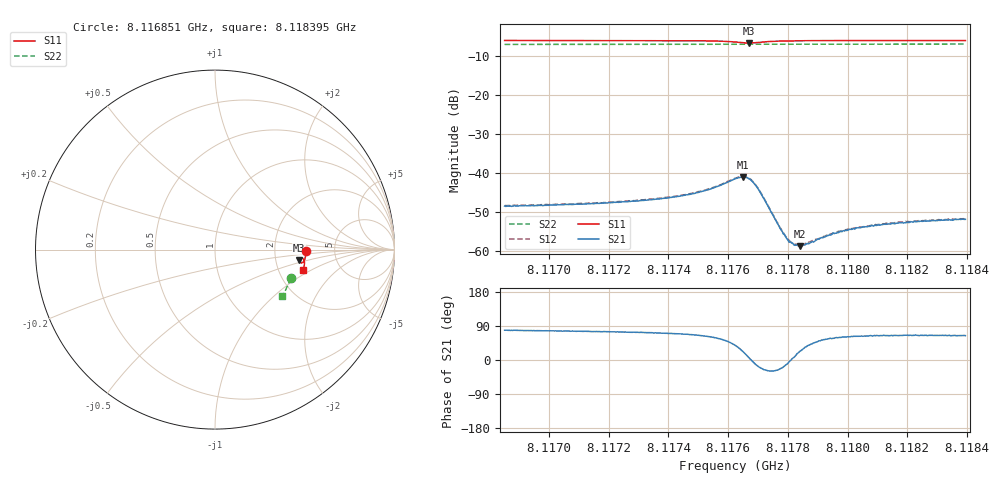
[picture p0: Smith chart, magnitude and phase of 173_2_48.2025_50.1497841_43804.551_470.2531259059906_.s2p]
#  HZ  S  RI  R  50.00
! Rohde & Schwarz Vector Network Analyzer
! Rohde-Schwarz,ZNB20-2Port,1311601062101988,3.16
! Created: UTC 3/20/2024, 11:43:48 AM
! freq[Hz]  re:S11  im:S11  re:S21  im:S21  re:S12  im:S12  re:S22  im:S22
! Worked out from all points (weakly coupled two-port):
!   401 points, 8.116851 GHz to 8.118395 GHz, reference 50 ohm
!   highest |S21| = -41.00 dB at 8.11765 GHz (marker M1); lowest = -58.7 dB at 8.117839 GHz (marker M2)
!   lowest |S11| = -6.6 dB at 8.117669 GHz (marker M3), VSWR 2.77, Z = 135 - j20.4 ohm
!   |S11| at or under -10 dB: nowhere
!   |S22| runs from -6.9 to -6.8 dB; largest |S21 - S12| = 0.00023
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8.1168508e9  0.5063 -0.00561  0.000744 0.00368  0.000818 0.00372  0.4214 -0.1595
8.1171095e9  0.5053 -0.0259  0.000984 0.00387  0.00104 0.00395  0.4153 -0.1765
8.1171867e9  0.5046 -0.0322  0.00107 0.00399  0.00111 0.00401  0.4133 -0.1815
8.1173681e9  0.5023 -0.0478  0.00148 0.0044  0.00157 0.00446  0.4085 -0.1933
8.1174607e9  0.4999 -0.057  0.00197 0.00488  0.00206 0.00492  0.4057 -0.1993
8.117507e9  0.4977 -0.0623  0.00247 0.00518  0.00252 0.00529  0.4043 -0.2021
8.1175688e9  0.4917 -0.0701  0.00378 0.00568  0.00391 0.00579  0.4024 -0.2064
8.1176228e9  0.4783 -0.0741  0.00652 0.00528  0.00671 0.00534  0.4002 -0.2096
8.1176498e9  0.4688 -0.0684  0.00827 0.00333  0.00844 0.00332  0.3991 -0.2109
8.1176691e9  0.4661 -0.0589  0.00841 0.000924  0.00858 0.000865  0.3986 -0.2118
8.1176846e9  0.469 -0.0514  0.0075 -0.000813  0.00761 -0.000915  0.3982 -0.2122
8.1177e9  0.4751 -0.0471  0.00603 -0.0018  0.00611 -0.00188  0.3981 -0.2129
8.1177734e9  0.4944 -0.054  0.0018 -0.000777  0.00181 -0.000819  0.3969 -0.2178
8.1177965e9  0.4964 -0.0577  0.00141 -0.00028  0.00147 -0.000293  0.3961 -0.2195
8.1178158e9  0.4973 -0.0607  0.00125 9.83e-05  0.00126 5.68e-05  0.3955 -0.2206
8.117839e9  0.498 -0.0639  0.00107 0.000439  0.00108 0.000399  0.3948 -0.2222
8.1178814e9  0.4984 -0.0689  0.000965 0.00089  0.000994 0.000921  0.3936 -0.2249
8.1179471e9  0.4984 -0.076  0.000903 0.00135  0.000914 0.00139  0.3914 -0.2292
8.1179857e9  0.4981 -0.0796  0.000888 0.00159  0.00091 0.00159  0.3901 -0.2315
8.1180358e9  0.4976 -0.0842  0.000925 0.00176  0.000911 0.0018  0.3882 -0.2346
8.1181401e9  0.4963 -0.093  0.000969 0.002  0.000992 0.00204  0.3849 -0.2411
8.1183948e9  0.492 -0.1128  0.0011 0.00229  0.00112 0.00232  0.3757 -0.2564
